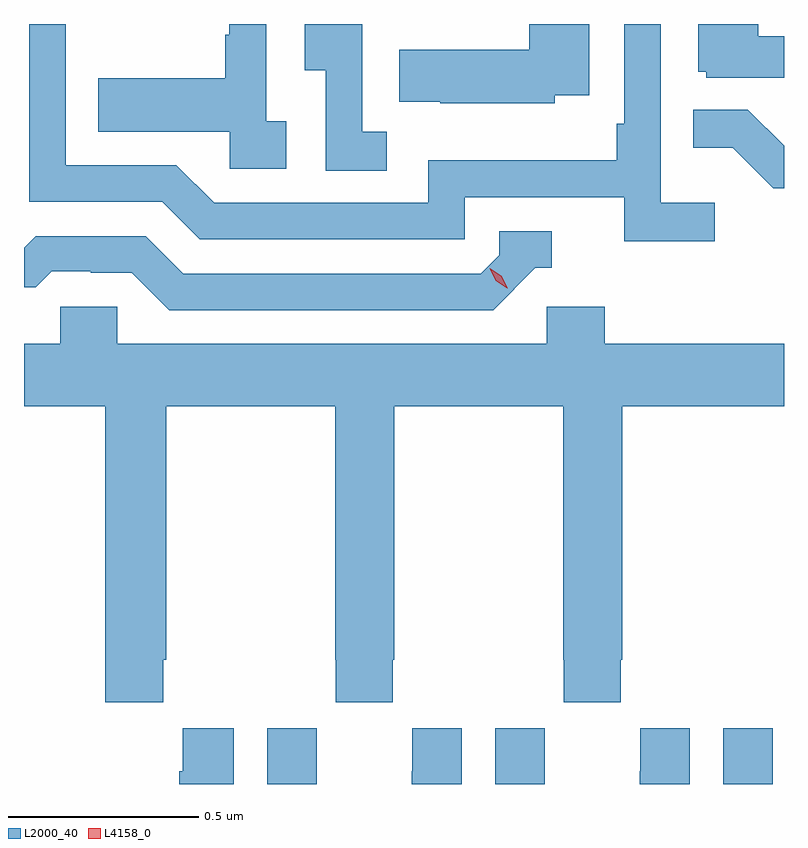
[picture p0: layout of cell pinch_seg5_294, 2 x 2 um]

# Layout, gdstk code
import gdstk
lib = gdstk.Library(unit=1e-6, precision=1e-09)
def P(c, l, *ps):  # polygons
    for p in ps: c.add(gdstk.Polygon(p, *l))
L2000_40 = (2000, 40)
L4158_0 = (4158, 0)

pinch_seg5_294 = lib.new_cell('pinch_seg5_294')
P(pinch_seg5_294, L2000_40, [(945.742,909.431),(945.678,909.431),(945.678,909.714),(945.527,909.714),(945.527,909.592),(945.582,909.592),(945.582,909.328),(945.742,909.328)],
  [(946.185,909.527),(946.276,909.527),(946.276,909.714),(946.118,909.714),(946.118,909.646),(945.775,909.646),(945.775,909.509),(945.883,909.509),(945.883,909.506),(946.185,909.506)],
  [(946.606,909.244),(946.464,909.244),(946.464,909.714),(946.368,909.714),(946.368,909.451),(946.348,909.451),(946.348,909.355),(945.852,909.355),(945.852,909.243),(945.288,909.243),(945.189,909.342),(944.898,909.342),(944.898,909.714),(944.802,909.714),(944.802,909.246),(945.152,909.246),(945.251,909.147),(945.948,909.147),(945.948,909.258),(946.367,909.258),(946.367,909.142),(946.606,909.142)],
  [(946.788,909.682),(946.72,909.682),(946.72,909.714),(946.562,909.714),(946.562,909.588),(946.584,909.588),(946.584,909.573),(946.788,909.573)],
  [(945.478,909.458),(945.426,909.458),(945.426,909.714),(945.328,909.714),(945.328,909.686),(945.318,909.686),(945.318,909.571),(944.983,909.571),(944.983,909.431),(945.33,909.431),(945.33,909.333),(945.478,909.333)],
  [(946.788,909.393),(946.693,909.488),(946.549,909.488),(946.549,909.389),(946.653,909.389),(946.76,909.282),(946.788,909.282)],
  [(946.134,909.072),(946.177,909.072),(946.177,909.168),(946.038,909.168),(946.038,909.105),(945.99,909.057),(945.207,909.057),(945.108,909.156),(944.819,909.156),(944.788,909.125),(944.788,909.021),(944.819,909.021),(944.861,909.063),(944.964,909.063),(944.964,909.06),(945.071,909.06),(945.17,908.961),(946.023,908.961)],
  [(945.033,908.97),(944.883,908.97),(944.883,908.872),(944.788,908.872),(944.788,908.708),(945.002,908.708),(945.002,907.929),(945.155,907.929),(945.155,908.041),(945.162,908.041),(945.162,908.708),(945.607,908.708),(945.607,908.041),(945.609,908.041),(945.609,907.929),(945.759,907.929),(945.759,908.041),(945.762,908.041),(945.762,908.708),(946.207,908.708),(946.207,908.041),(946.209,908.041),(946.209,907.929),(946.359,907.929),(946.359,908.041),(946.362,908.041),(946.362,908.708),(946.788,908.708),(946.788,908.872),(946.316,908.872),(946.316,908.97),(946.164,908.97),(946.164,908.872),(945.033,908.872)],
  [(946.759,907.748),(946.758,907.748),(946.758,907.861),(946.628,907.861),(946.628,907.714),(946.759,907.714)],
  [(946.54,907.861),(946.41,907.861),(946.41,907.748),(946.409,907.748),(946.409,907.714),(946.54,907.714)],
  [(946.159,907.748),(946.158,907.748),(946.158,907.861),(946.028,907.861),(946.028,907.714),(946.159,907.714)],
  [(945.94,907.861),(945.81,907.861),(945.81,907.748),(945.809,907.748),(945.809,907.714),(945.94,907.714)],
  [(945.559,907.748),(945.558,907.748),(945.558,907.861),(945.428,907.861),(945.428,907.714),(945.559,907.714)],
  [(945.34,907.861),(945.206,907.861),(945.206,907.748),(945.197,907.748),(945.197,907.714),(945.34,907.714)])
P(pinch_seg5_294, L4158_0, [(946.06,909.018),(946.029,909.038),(946.013,909.07),(946.013,909.071),(946.013,909.071),(946.044,909.051),(946.061,909.019),(946.061,909.018)])

lib.write_gds('pinch_seg5_294.gds')
